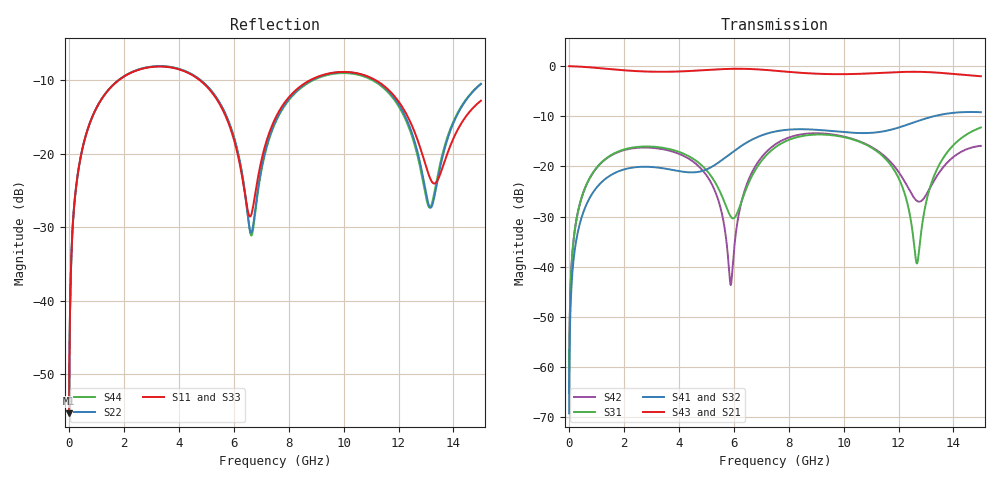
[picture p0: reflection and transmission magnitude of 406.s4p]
! Created with skrf 1.8.0 (http://scikit-rf.org).
# GHz S RI R 50.0
!freq ReS11 ImS11 ReS12 ImS12 ReS13 ImS13
! ReS14 ImS14
! ReS21 ImS21 ReS22 ImS22 ReS23 ImS23
! ReS24 ImS24
! ReS31 ImS31 ReS32 ImS32 ReS33 ImS33
! ReS34 ImS34
! ReS41 ImS41 ReS42 ImS42 ReS43 ImS43
! ReS44 ImS44
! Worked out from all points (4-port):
!   2499 points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, 5 MHz to 15 GHz, reference 50 ohm
!   strongest paths, dB at 5 MHz, 3.476 GHz, 7.19 GHz, 11.1 GHz, 15 GHz:
!     S43: 0.0, -1.1, -0.8, -1.4, -2.0
!     S21: 0.0, -1.1, -0.8, -1.4, -2.0
!     S41: -69.2, -20.4, -13.5, -13.3, -9.2
!     S32: -69.2, -20.4, -13.5, -13.3, -9.2
!     S31: -65.2, -16.3, -17.7, -16.5, -12.2
!     S42: -65.2, -16.6, -17.1, -16.4, -15.9
!   lowest |S11| = -55.4 dB at 5 MHz (marker M1), VSWR 1.00, Z = 50.1 + j0.104 ohm
!   |S11| at or under -10 dB: start of sweep to 1.805 GHz; 4.768 GHz to 8.771 GHz (4.002 GHz wide, 59.1 % of centre); 11.18 GHz to end of sweep
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0.005  0.00136 0.00103  0.9986 -0.00265  6.77e-05 0.000544  -6.57e-05 -0.00034
       0.9986 -0.00265  0.00136 0.00103  -6.57e-05 -0.00034  6.76e-05 0.000544
       6.77e-05 0.000544  -6.57e-05 -0.00034  0.00136 0.00103  0.9986 -0.00265
       -6.57e-05 -0.00034  6.76e-05 0.000544  0.9986 -0.00265  0.00136 0.00103
0.3626511  0.0219 0.0788  0.9699 -0.191  0.0105 0.0376  -0.00851 -0.0233
           0.9699 -0.191  0.0219 0.0788  -0.0085 -0.0233  0.01 0.0377
           0.0105 0.0376  -0.0085 -0.0233  0.0219 0.0788  0.9699 -0.191
           -0.00851 -0.0233  0.01 0.0377  0.9699 -0.191  0.0219 0.0788
1.619545  0.2253 0.1908  0.6387 -0.6718  0.1142 0.0697  -0.0823 -0.0204
          0.6387 -0.6718  0.2269 0.19  -0.0822 -0.0204  0.1091 0.0752
          0.1142 0.0697  -0.0822 -0.0204  0.2254 0.1908  0.6387 -0.6718
          -0.0823 -0.0204  0.1091 0.0752  0.6387 -0.6718  0.2269 0.1901
5.889954  0.0792 -0.1235  -0.8539 -0.3909  -0.0274 -0.0159  -0.0513 0.1246
          -0.8539 -0.3909  0.0727 -0.1326  -0.0525 0.1241  0.00635 0.00168
          -0.0274 -0.0159  -0.0525 0.1241  0.0803 -0.1241  -0.8536 -0.3913
          -0.0513 0.1246  0.00635 0.00168  -0.8536 -0.3913  0.0724 -0.1338
6.627762  0.0378 0.00416  -0.9337 -0.0495  -0.0127 0.0757  -0.00407 0.1826
          -0.9337 -0.0495  0.0288 -0.00313  -0.00563 0.1825  0.0216 0.0804
          -0.0127 0.0757  -0.00563 0.1825  0.0391 0.00282  -0.9337 -0.0502
          -0.00407 0.1826  0.0216 0.0804  -0.9337 -0.0502  0.0275 -0.00479
12.67403  0.0858 -0.0939  0.7923 0.3752  0.0107 -0.00132  0.1086 -0.2598
          0.7923 0.3752  0.0639 -0.0849  0.1149 -0.2571  -0.0428 -0.015
          0.0107 -0.00132  0.1149 -0.2571  0.0807 -0.0892  0.7941 0.3734
          0.1086 -0.2598  -0.0428 -0.015  0.7941 0.3734  0.063 -0.0776
15  0.1992 0.1144  0.6225 -0.4913  0.2443 -0.00798  -0.2621 -0.2279
    0.6225 -0.4913  0.2528 0.1588  -0.2561 -0.2325  0.1248 0.1009
    0.2443 -0.00798  -0.2561 -0.2325  0.2055 0.1146  0.6213 -0.4914
    -0.2621 -0.2279  0.1248 0.1009  0.6213 -0.4914  0.2515 0.1627
